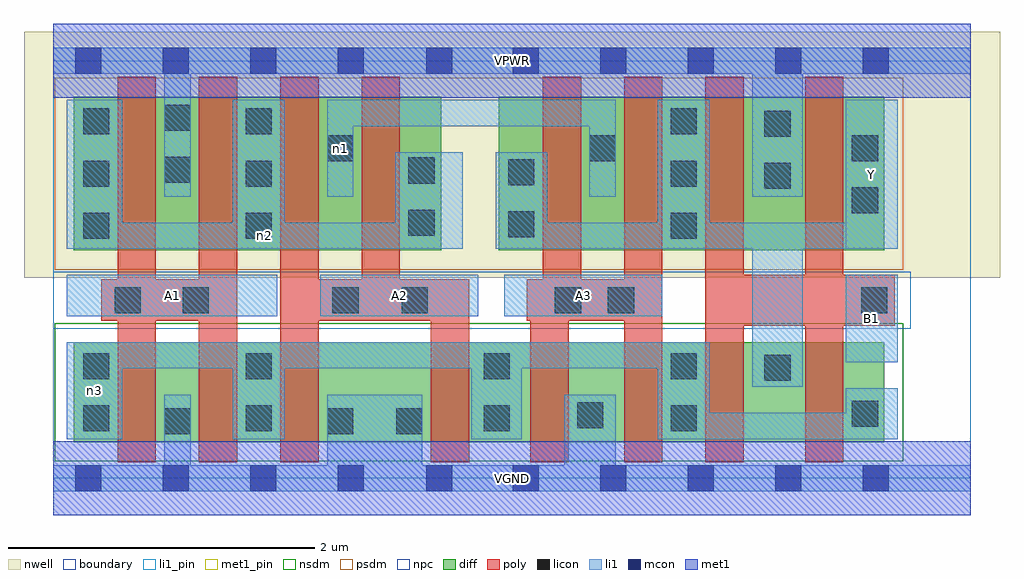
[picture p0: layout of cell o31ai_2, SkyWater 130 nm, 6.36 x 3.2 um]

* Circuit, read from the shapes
.subckt o31ai_2 A1 A2 A3 B1 VGND VPWR Y n1 n2 n3
XM1 VGND A1 n3 VSUBS sky130_fd_pr__nfet_01v8 w=0.65 l=0.25 m=2
XM2 VGND A2 n3 VSUBS sky130_fd_pr__nfet_01v8 w=0.65 l=0.25 m=2
XM3 VGND A3 n3 VSUBS sky130_fd_pr__nfet_01v8 w=0.65 l=0.25 m=2
XM4 Y B1 n3 VSUBS sky130_fd_pr__nfet_01v8 w=0.65 l=0.25 m=2
XM5 VPWR A1 n2 n4 sky130_fd_pr__pfet_01v8 w=1 l=0.25 m=2
XM6 n1 A2 n2 n4 sky130_fd_pr__pfet_01v8 w=1 l=0.25 m=2
XM7 n1 A3 Y n4 sky130_fd_pr__pfet_01v8 w=1 l=0.25 m=2
XM8 VPWR B1 Y n4 sky130_fd_pr__pfet_01v8 w=1 l=0.25 m=2
.ends

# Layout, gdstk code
import gdstk
lib = gdstk.Library(unit=1e-6, precision=1e-09)
def R(c, l, rs):  # rectangles x0, y0, x1, y1
    for r in rs: c.add(gdstk.rectangle(r[:2], r[2:], *l))
def A(c, l, x, y, w, h, nx, ny, dx, dy):  # array of equal rectangles
    R(c, l, [(x+i*dx, y+j*dy, x+i*dx+w, y+j*dy+h) for i in range(nx) for j in range(ny)])
nwell = (64, 20)
diff = (65, 20)
poly = (66, 20)
licon = (66, 44)
li1_pin = (67, 16)
li1 = (67, 20)
mcon = (67, 44)
met1_pin = (68, 16)
met1 = (68, 20)
nsdm = (93, 44)
psdm = (94, 20)
npc = (95, 20)
boundary = (235, 4)

o31ai_2 = lib.new_cell('o31ai_2')
R(o31ai_2, nwell, [(-0.19,1.305,6.17,2.91), (0,1.305,5.98,2.91)])
R(o31ai_2, diff, [(0.135,0.235,5.415,0.885), (0.135,1.485,2.53,2.485), (2.905,1.485,5.415,2.485)])
A(o31ai_2, poly, 0.42, 0.105, 0.25, 2.51, 3, 1, 0.53, 0)
R(o31ai_2, poly, [(2.46,0.105,2.71,1.295), (3.11,0.105,3.36,1.295), (3.72,0.105,3.97,2.615), (4.25,0.105,4.5,2.615), (4.9,0.105,5.15,2.615), (4.25,0.995,5.485,1.325), (0.315,1.025,1.2,1.295), (1.48,1.025,2.71,1.295), (2.01,1.025,2.26,2.615), (3.085,1.025,3.97,1.295), (3.19,1.025,3.44,2.615)])
A(o31ai_2, licon, 0.195, 1.56, 0.17, 0.17, 1, 3, 0, 0.34)
A(o31ai_2, licon, 1.255, 1.56, 0.17, 0.17, 1, 3, 0, 0.34)
A(o31ai_2, licon, 4.025, 1.56, 0.17, 0.17, 1, 3, 0, 0.34)
A(o31ai_2, licon, 1.785, 2.065, 0.17, 0.17, 3, 1, 1.71, 0)
R(o31ai_2, licon, [(0.725,0.285,0.895,0.455), (1.785,0.285,1.955,0.455), (2.235,0.285,2.405,0.455), (0.195,0.305,0.365,0.475), (1.255,0.305,1.425,0.475), (2.805,0.305,2.975,0.475), (4.025,0.305,4.195,0.475), (3.415,0.325,3.585,0.495), (5.205,0.335,5.375,0.505), (4.635,0.635,4.805,0.805), (0.195,0.645,0.365,0.815), (1.255,0.645,1.425,0.815), (2.805,0.645,2.975,0.815), (4.025,0.645,4.195,0.815), (0.4,1.075,0.57,1.245), (0.845,1.075,1.015,1.245), (1.82,1.075,1.99,1.245), (2.27,1.075,2.44,1.245), (3.27,1.075,3.44,1.245), (3.615,1.075,3.785,1.245), (5.265,1.075,5.435,1.245), (2.965,1.57,3.135,1.74), (2.315,1.58,2.485,1.75), (5.205,1.725,5.375,1.895), (4.635,1.885,4.805,2.055), (2.965,1.91,3.135,2.08), (2.315,1.92,2.485,2.09), (0.725,1.925,0.895,2.095), (4.635,2.225,4.805,2.395), (0.725,2.265,0.895,2.435)])
R(o31ai_2, li1_pin, [(5.165,0.755,5.505,1.325), (0.09,1.055,1.46,1.325), (1.74,1.055,2.77,1.325), (2.94,1.055,3.97,1.325), (5.165,1.495,5.505,2.465)])
R(o31ai_2, li1, [(0,-0.085,5.98,0.085), (0.725,-0.085,0.895,0.545), (1.785,-0.085,2.405,0.545), (3.33,-0.085,3.665,0.545), (0.09,0.255,0.45,0.885), (1.17,0.255,1.51,0.885), (2.725,0.255,3.055,0.885), (3.94,0.255,4.28,0.885), (3.94,0.255,5.505,0.425), (5.165,0.255,5.505,0.585), (4.555,0.595,4.885,1.665), (0.09,0.715,4.28,0.885), (5.165,0.755,5.505,1.325), (0.09,1.055,1.46,1.325), (1.74,1.055,2.77,1.325), (2.94,1.055,3.97,1.325), (0.09,1.495,2.67,1.665), (0.09,1.495,0.45,2.465), (1.17,1.495,1.51,2.465), (2.23,1.495,2.67,2.125), (2.885,1.495,3.22,2.125), (2.885,1.495,5.505,1.665), (3.94,1.495,4.28,2.465), (5.165,1.495,5.505,2.465), (0.725,1.835,0.895,2.805), (1.785,1.835,1.955,2.465), (3.495,1.835,3.665,2.465), (4.555,1.835,4.885,2.805), (1.785,2.295,3.665,2.465), (0,2.635,5.98,2.805)])
A(o31ai_2, mcon, 0.145, -0.085, 0.17, 0.17, 4, 2, 0.57, 2.72)
A(o31ai_2, mcon, 2.995, -0.085, 0.17, 0.17, 5, 2, 0.57, 2.72)
R(o31ai_2, mcon, [(2.43,-0.085,2.6,0.085), (2.43,2.635,2.6,2.805)])
R(o31ai_2, met1_pin, [(0,-0.24,5.98,0.24), (0,2.48,5.98,2.96)])
R(o31ai_2, met1, [(0,-0.24,5.98,0.24), (0,2.48,5.98,2.96)])
R(o31ai_2, nsdm, [(0.01,0.11,5.54,1.01)])
R(o31ai_2, psdm, [(0.01,1.36,5.54,2.61)])
R(o31ai_2, npc, [(0,0.975,5.59,1.345)])
R(o31ai_2, boundary, [(0,0,5.98,2.72)])
o31ai_2.add(gdstk.Label('A1', (0.775,1.19), layer=67, texttype=5))
o31ai_2.add(gdstk.Label('A2', (2.255,1.19), layer=67, texttype=5))
o31ai_2.add(gdstk.Label('A3', (3.455,1.19), layer=67, texttype=5))
o31ai_2.add(gdstk.Label('B1', (5.335,1.04), layer=67, texttype=5))
o31ai_2.add(gdstk.Label('Y', (5.335,1.98), layer=67, texttype=5))
o31ai_2.add(gdstk.Label('n3', (0.27,0.57), layer=67, texttype=5))
o31ai_2.add(gdstk.Label('n2', (1.38,1.58), layer=67, texttype=5))
o31ai_2.add(gdstk.Label('n1', (1.87,2.15), layer=67, texttype=5))
o31ai_2.add(gdstk.Label('VPWR', (2.99,2.72), layer=68, texttype=5))
o31ai_2.add(gdstk.Label('VGND', (2.99,0), layer=68, texttype=5))
o31ai_2.add(gdstk.Label('A1', (0.775,1.19), layer=67, texttype=16))
o31ai_2.add(gdstk.Label('A2', (2.255,1.19), layer=67, texttype=16))
o31ai_2.add(gdstk.Label('A3', (3.455,1.19), layer=67, texttype=16))
o31ai_2.add(gdstk.Label('B1', (5.335,1.04), layer=67, texttype=16))
o31ai_2.add(gdstk.Label('Y', (5.335,1.98), layer=67, texttype=16))
o31ai_2.add(gdstk.Label('VPWR', (2.99,2.72), layer=68, texttype=16))
o31ai_2.add(gdstk.Label('VGND', (2.99,0), layer=68, texttype=16))

lib.write_gds('o31ai_2.gds')
